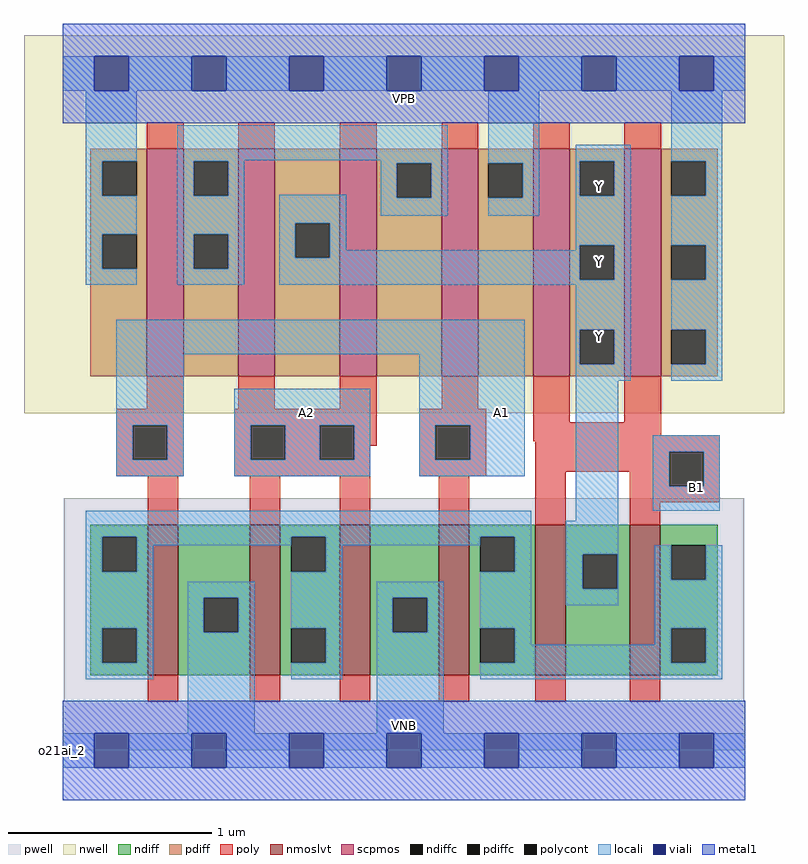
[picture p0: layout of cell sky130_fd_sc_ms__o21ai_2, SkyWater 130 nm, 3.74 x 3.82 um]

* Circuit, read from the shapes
.subckt sky130_fd_sc_ms__o21ai_2 A1 A2 B1 VGND VNB VPB VPWR Y
XM1 VGND A1 n1 VNB sky130_fd_pr__nfet_01v8_lvt w=0.74 l=0.15 m=2
XM2 n1 A2 VGND VNB sky130_fd_pr__nfet_01v8_lvt w=0.74 l=0.15 m=2
XM3 Y B1 n1 VNB sky130_fd_pr__nfet_01v8_lvt w=0.74 l=0.15 m=2
XM4 n2 A1 VPWR VPB sky130_fd_pr__pfet_01v8 w=1.12 l=0.18 m=2
XM5 Y A2 n2 VPB sky130_fd_pr__pfet_01v8 w=1.12 l=0.18 m=2
XM6 Y B1 VPWR VPB sky130_fd_pr__pfet_01v8 w=1.12 l=0.18 m=2
.ends

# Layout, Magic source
magic
tech sky130A
magscale 1 2
<< nwell >>
rect -38 332 710 704
<< pwell >>
rect 1 49 671 248
rect 0 0 672 49
<< scpmos >>
rect 83 368 119 592
rect 173 368 209 592
rect 273 368 309 592
rect 373 368 409 592
rect 463 368 499 592
rect 553 368 589 592
<< nmoslvt >>
rect 84 74 114 222
rect 184 74 214 222
rect 273 74 303 222
rect 370 74 400 222
rect 465 74 495 222
rect 558 74 588 222
<< ndiff >>
rect 27 210 84 222
rect 27 176 39 210
rect 73 176 84 210
rect 27 120 84 176
rect 27 86 39 120
rect 73 86 84 120
rect 27 74 84 86
rect 114 150 184 222
rect 114 116 139 150
rect 173 116 184 150
rect 114 74 184 116
rect 214 210 273 222
rect 214 176 225 210
rect 259 176 273 210
rect 214 120 273 176
rect 214 86 225 120
rect 259 86 273 120
rect 214 74 273 86
rect 303 150 370 222
rect 303 116 325 150
rect 359 116 370 150
rect 303 74 370 116
rect 400 210 465 222
rect 400 176 411 210
rect 445 176 465 210
rect 400 120 465 176
rect 400 86 411 120
rect 445 86 465 120
rect 400 74 465 86
rect 495 193 558 222
rect 495 159 512 193
rect 546 159 558 193
rect 495 74 558 159
rect 588 202 645 222
rect 588 168 599 202
rect 633 168 645 202
rect 588 120 645 168
rect 588 86 599 120
rect 633 86 645 120
rect 588 74 645 86
<< pdiff >>
rect 27 580 83 592
rect 27 546 39 580
rect 73 546 83 580
rect 27 508 83 546
rect 27 474 39 508
rect 73 474 83 508
rect 27 368 83 474
rect 119 580 173 592
rect 119 546 129 580
rect 163 546 173 580
rect 119 508 173 546
rect 119 474 129 508
rect 163 474 173 508
rect 119 368 173 474
rect 209 519 273 592
rect 209 485 229 519
rect 263 485 273 519
rect 209 368 273 485
rect 309 578 373 592
rect 309 544 329 578
rect 363 544 373 578
rect 309 368 373 544
rect 409 578 463 592
rect 409 544 419 578
rect 453 544 463 578
rect 409 368 463 544
rect 499 580 553 592
rect 499 546 509 580
rect 543 546 553 580
rect 499 497 553 546
rect 499 463 509 497
rect 543 463 553 497
rect 499 414 553 463
rect 499 380 509 414
rect 543 380 553 414
rect 499 368 553 380
rect 589 580 645 592
rect 589 546 599 580
rect 633 546 645 580
rect 589 497 645 546
rect 589 463 599 497
rect 633 463 645 497
rect 589 414 645 463
rect 589 380 599 414
rect 633 380 645 414
rect 589 368 645 380
<< ndiffc >>
rect 39 176 73 210
rect 39 86 73 120
rect 139 116 173 150
rect 225 176 259 210
rect 225 86 259 120
rect 325 116 359 150
rect 411 176 445 210
rect 411 86 445 120
rect 512 159 546 193
rect 599 168 633 202
rect 599 86 633 120
<< pdiffc >>
rect 39 546 73 580
rect 39 474 73 508
rect 129 546 163 580
rect 129 474 163 508
rect 229 485 263 519
rect 329 544 363 578
rect 419 544 453 578
rect 509 546 543 580
rect 509 463 543 497
rect 509 380 543 414
rect 599 546 633 580
rect 599 463 633 497
rect 599 380 633 414
<< poly >>
rect 83 592 119 618
rect 173 592 209 618
rect 273 592 309 618
rect 373 592 409 618
rect 463 592 499 618
rect 553 592 589 618
rect 83 336 119 368
rect 173 336 209 368
rect 273 336 309 368
rect 373 336 409 368
rect 53 320 119 336
rect 53 286 69 320
rect 103 286 119 320
rect 53 270 119 286
rect 169 320 309 336
rect 169 286 185 320
rect 219 286 253 320
rect 287 300 309 320
rect 351 320 417 336
rect 287 286 303 300
rect 169 270 303 286
rect 351 286 367 320
rect 401 286 417 320
rect 463 323 499 368
rect 553 323 589 368
rect 463 310 589 323
rect 463 304 647 310
rect 351 270 417 286
rect 465 294 647 304
rect 465 274 597 294
rect 84 222 114 270
rect 184 222 214 270
rect 273 222 303 270
rect 370 222 400 270
rect 465 222 495 274
rect 558 260 597 274
rect 631 260 647 294
rect 558 244 647 260
rect 558 222 588 244
rect 84 48 114 74
rect 184 48 214 74
rect 273 48 303 74
rect 370 48 400 74
rect 465 48 495 74
rect 558 48 588 74
<< polycont >>
rect 69 286 103 320
rect 185 286 219 320
rect 253 286 287 320
rect 367 286 401 320
rect 597 260 631 294
<< locali >>
rect 0 649 31 683
rect 65 649 127 683
rect 161 649 223 683
rect 257 649 319 683
rect 353 649 415 683
rect 449 649 511 683
rect 545 649 607 683
rect 641 649 672 683
rect 23 580 73 649
rect 23 546 39 580
rect 23 508 73 546
rect 23 474 39 508
rect 23 458 73 474
rect 113 581 379 615
rect 113 580 179 581
rect 113 546 129 580
rect 163 546 179 580
rect 313 578 379 581
rect 113 508 179 546
rect 113 474 129 508
rect 163 474 179 508
rect 113 458 179 474
rect 213 519 279 547
rect 313 544 329 578
rect 363 544 379 578
rect 313 526 379 544
rect 419 578 469 649
rect 453 544 469 578
rect 419 526 469 544
rect 505 580 559 596
rect 505 546 509 580
rect 543 546 559 580
rect 213 485 229 519
rect 263 492 279 519
rect 505 497 559 546
rect 505 492 509 497
rect 263 485 509 492
rect 213 463 509 485
rect 543 463 559 497
rect 213 458 559 463
rect 53 390 455 424
rect 53 320 119 390
rect 53 286 69 320
rect 103 286 119 320
rect 53 270 119 286
rect 169 320 303 356
rect 169 286 185 320
rect 219 286 253 320
rect 287 286 303 320
rect 169 270 303 286
rect 351 320 455 390
rect 351 286 367 320
rect 401 286 455 320
rect 351 270 455 286
rect 505 414 559 458
rect 505 380 509 414
rect 543 380 559 414
rect 505 364 559 380
rect 599 580 649 649
rect 633 546 649 580
rect 599 497 649 546
rect 633 463 649 497
rect 599 414 649 463
rect 633 380 649 414
rect 599 364 649 380
rect 23 210 461 236
rect 505 226 547 364
rect 581 294 647 310
rect 581 260 597 294
rect 631 260 647 294
rect 581 236 647 260
rect 23 176 39 210
rect 73 202 225 210
rect 73 176 89 202
rect 23 120 89 176
rect 259 202 411 210
rect 259 176 275 202
rect 23 86 39 120
rect 73 86 89 120
rect 23 70 89 86
rect 123 150 189 166
rect 123 116 139 150
rect 173 116 189 150
rect 123 17 189 116
rect 225 120 275 176
rect 445 176 461 210
rect 259 86 275 120
rect 225 70 275 86
rect 309 150 375 166
rect 309 116 325 150
rect 359 116 375 150
rect 309 17 375 116
rect 411 120 461 176
rect 495 193 547 226
rect 495 159 512 193
rect 546 159 547 193
rect 495 143 547 159
rect 583 168 599 202
rect 633 168 649 202
rect 445 104 461 120
rect 583 120 649 168
rect 583 104 599 120
rect 445 86 599 104
rect 633 86 649 120
rect 411 70 649 86
rect 0 -17 31 17
rect 65 -17 127 17
rect 161 -17 223 17
rect 257 -17 319 17
rect 353 -17 415 17
rect 449 -17 511 17
rect 545 -17 607 17
rect 641 -17 672 17
<< viali >>
rect 31 649 65 683
rect 127 649 161 683
rect 223 649 257 683
rect 319 649 353 683
rect 415 649 449 683
rect 511 649 545 683
rect 607 649 641 683
rect 31 -17 65 17
rect 127 -17 161 17
rect 223 -17 257 17
rect 319 -17 353 17
rect 415 -17 449 17
rect 511 -17 545 17
rect 607 -17 641 17
<< metal1 >>
rect 0 683 672 715
rect 0 649 31 683
rect 65 649 127 683
rect 161 649 223 683
rect 257 649 319 683
rect 353 649 415 683
rect 449 649 511 683
rect 545 649 607 683
rect 641 649 672 683
rect 0 617 672 649
rect 0 17 672 49
rect 0 -17 31 17
rect 65 -17 127 17
rect 161 -17 223 17
rect 257 -17 319 17
rect 353 -17 415 17
rect 449 -17 511 17
rect 545 -17 607 17
rect 641 -17 672 17
rect 0 -49 672 -17
<< labels >>
flabel pwell s 0 0 672 49 0 FreeSans 200 0 0 0 VNB
port 5 nsew ground bidirectional
flabel nwell s 0 617 672 666 0 FreeSans 200 0 0 0 VPB
port 6 nsew power bidirectional
rlabel comment s 0 0 0 0 4 o21ai_2
flabel metal1 s 0 617 672 666 0 FreeSans 340 0 0 0 VPWR
port 7 nsew power bidirectional
flabel metal1 s 0 0 672 49 0 FreeSans 340 0 0 0 VGND
port 4 nsew ground bidirectional
flabel locali s 607 242 641 276 0 FreeSans 340 0 0 0 B1
port 3 nsew signal input
flabel locali s 223 316 257 350 0 FreeSans 340 0 0 0 A2
port 2 nsew signal input
flabel locali s 415 316 449 350 0 FreeSans 340 0 0 0 A1
port 1 nsew signal input
flabel locali s 511 390 545 424 0 FreeSans 340 0 0 0 Y
port 8 nsew signal output
flabel locali s 511 464 545 498 0 FreeSans 340 0 0 0 Y
port 8 nsew signal output
flabel locali s 511 538 545 572 0 FreeSans 340 0 0 0 Y
port 8 nsew signal output
<< properties >>
string LEFsite unit
string LEFclass CORE
string FIXED_BBOX 0 0 672 666
string GDS_FILE $PDKPATH/libs.ref/sky130_fd_sc_ms/gds/sky130_fd_sc_ms.gds
string LEFsymmetry X Y
string GDS_END 2588234
string GDS_START 2581896
<< end >>
